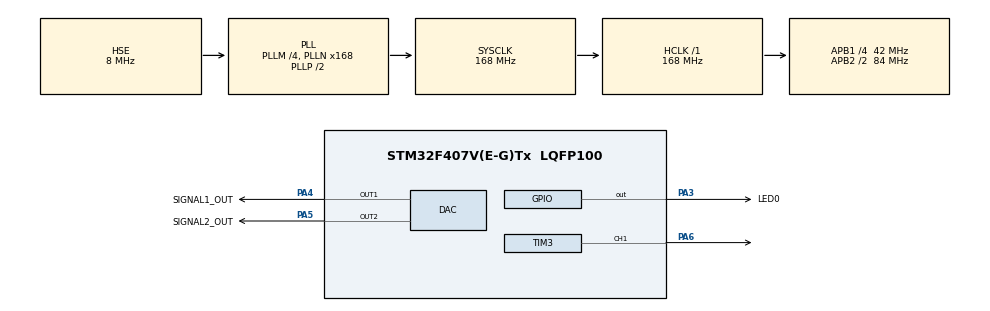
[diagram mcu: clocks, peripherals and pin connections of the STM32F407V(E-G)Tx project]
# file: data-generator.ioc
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Mcu.Family=STM32F4
Mcu.Name=STM32F407V(E-G)Tx
Mcu.Package=LQFP100
NVIC.PriorityGroup=NVIC_PRIORITYGROUP_4
NVIC.TIM3_IRQn=true\:0\:0\:false\:false\:true\:true\:true\:true
NVIC.TIM6_DAC_IRQn=true\:0\:0\:false\:false\:true\:true\:true\:true
NVIC.TIM7_IRQn=true\:0\:0\:false\:false\:true\:true\:true\:true
PA13.Mode=Serial_Wire
PA13.Signal=SYS_JTMS-SWDIO
PA14.Mode=Serial_Wire
PA14.Signal=SYS_JTCK-SWCLK
PA3.GPIO_Label=LED0
PA3.Signal=GPIO_Output
PA4.GPIO_Label=SIGNAL1_OUT
PA4.Signal=COMP_DAC1_group
PA5.GPIO_Label=SIGNAL2_OUT
PA5.Signal=COMP_DAC2_group
PA6.Signal=S_TIM3_CH1
PH0-OSC_IN.Mode=HSE-External-Oscillator
PH0-OSC_IN.Signal=RCC_OSC_IN
PH1-OSC_OUT.Mode=HSE-External-Oscillator
PH1-OSC_OUT.Signal=RCC_OSC_OUT
ProjectManager.HeapSize=0x200
ProjectManager.StackSize=0x400
ProjectManager.TargetToolchain=STM32CubeIDE
RCC.48MHZClocksFreq_Value=48000000
RCC.AHBFreq_Value=168000000
RCC.APB1CLKDivider=RCC_HCLK_DIV4
RCC.APB1Freq_Value=42000000
RCC.APB1TimFreq_Value=84000000
RCC.APB2CLKDivider=RCC_HCLK_DIV2
RCC.APB2Freq_Value=84000000
RCC.APB2TimFreq_Value=168000000
RCC.CortexFreq_Value=168000000
RCC.HCLKFreq_Value=168000000
RCC.HSE_VALUE=8000000
RCC.HSI_VALUE=16000000
RCC.LSE_VALUE=32768
RCC.PLLM=4
RCC.PLLN=168
RCC.PLLQ=7
RCC.PLLSourceVirtual=RCC_PLLSOURCE_HSE
RCC.SYSCLKFreq_VALUE=168000000
RCC.SYSCLKSource=RCC_SYSCLKSOURCE_PLLCLK
RCC.VCOOutputFreq_Value=336000000
SH.COMP_DAC1_group.0=DAC_OUT1,DAC_OUT1
SH.COMP_DAC2_group.0=DAC_OUT2,DAC_OUT2
SH.S_TIM3_CH1.0=TIM3_CH1,PWM Generation1 CH1
TIM3.Channel-PWM\ Generation1\ CH1=TIM_CHANNEL_1
TIM3.Period=84-1
TIM3.Prescaler=10-1
TIM3.Pulse-PWM\ Generation1\ CH1=42
TIM7.Period=50000-1
TIM7.Prescaler=840-1
VP_RNG_VS_RNG.Mode=RNG_Activate
VP_TIM7_VS_ClockSourceINT.Mode=Enable_Timer
board=custom

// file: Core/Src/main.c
/* USER CODE BEGIN Header */
/**
  ******************************************************************************
  * @file           : main.c
  * @brief          : Main program body
  ******************************************************************************
  * @attention
  *
  * Copyright (c) 2025 STMicroelectronics.
  * All rights reserved.
  *
  * This software is licensed under terms that can be found in the LICENSE file
  * in the root directory of this software component.
  * If no LICENSE file comes with this software, it is provided AS-IS.
  *
  ******************************************************************************
  */
/* USER CODE END Header */
#include "main.h"
#include "dac.h"
#include "rng.h"
#include "tim.h"
#include "gpio.h"

/* USER CODE BEGIN Includes */
#include <math.h>
/* USER CODE END Includes */

/* USER CODE BEGIN PM */
#define SIGNAL_FREQUENCY 1e3
#define SAMPLING_FREQUENCY 100e3
#define NOISE_FREQUENCY 10e3
#define SIGNAL_AMPLITUDE 1.5f
#define PHASE_A 0.0f
#define PHASE_B M_PI_2
#define NOISE_AMPLITUDE 0.2f
#define DAC_OFFSET 1.5f
/* USER CODE END PM */

/* USER CODE BEGIN PV */
#define NUM_SAMPLES (int)(SAMPLING_FREQUENCY / SIGNAL_FREQUENCY) // 100 samples

volatile uint32_t sample_index = 0;
uint32_t lut_channel_1[NUM_SAMPLES];
uint32_t lut_channel_2[NUM_SAMPLES];
/* USER CODE END PV */

void SystemClock_Config(void);
/* USER CODE BEGIN PFP */
static inline float compute_sine(float tau, float f, float phi) {
	return sinf(tau * f + phi);
}

static inline float get_noise(float amplitude) {
	uint32_t raw_value;

	HAL_RNG_GenerateRandomNumber(&hrng, &raw_value);

	return fabsf((float)raw_value / (float)(UINT32_MAX)) * amplitude;
}

static inline uint32_t digitize(float signal) {
	uint32_t value = signal * 4096.0f / 3.0f;

	if (value >= 4096) {
		return 4095;
	} else {
		return value;
	}
}

void HAL_TIM_PeriodElapsedCallback(TIM_HandleTypeDef *htim) {

    if (htim->Instance == TIM3) {

        // Directly push pre-calculated values to the DAC
        HAL_DAC_SetValue(&hdac, DAC_CHANNEL_1, DAC_ALIGN_12B_R, lut_channel_1[sample_index]);
        HAL_DAC_SetValue(&hdac, DAC_CHANNEL_2, DAC_ALIGN_12B_R, lut_channel_2[sample_index]);

        sample_index++;
        if (sample_index >= NUM_SAMPLES) {
            sample_index = 0;
        }
    }
    else if (htim->Instance == TIM7) {
        HAL_GPIO_TogglePin(LED0_GPIO_Port, LED0_Pin);
    }
}
/* USER CODE END PFP */

int main(void)
{

  /* MCU Configuration--------------------------------------------------------*/

  /* Reset of all peripherals, Initializes the Flash interface and the Systick. */
  HAL_Init();

  /* Configure the system clock */
  SystemClock_Config();

  /* Initialize all configured peripherals */
  MX_GPIO_Init();
  MX_DAC_Init();
  MX_TIM7_Init();
  MX_TIM3_Init();
  MX_RNG_Init();
  /* USER CODE BEGIN 2 */
  // Pre-calculate the entire wave exactly once
	for (int i = 0; i < NUM_SAMPLES; i++) {
		float tau = 2.0f * (float)M_PI * (float)i / (float)NUM_SAMPLES;

		float noise_val = NOISE_AMPLITUDE * compute_sine(tau, NOISE_FREQUENCY/SIGNAL_FREQUENCY, 0);

		float signal_A = SIGNAL_AMPLITUDE * compute_sine(tau, 2.0f, PHASE_A) + DAC_OFFSET; // + noise_val;
		float signal_B = SIGNAL_AMPLITUDE * compute_sine(tau, 1.0f, PHASE_B) + DAC_OFFSET + noise_val;

		lut_channel_1[i] = digitize(signal_A);
		lut_channel_2[i] = digitize(signal_B);
	}

  HAL_DAC_Start(&hdac, DAC_CHANNEL_1);
  HAL_DAC_Start(&hdac, DAC_CHANNEL_2);
  HAL_TIM_PWM_Start(&htim3, TIM_CHANNEL_1);
  HAL_TIM_Base_Start_IT(&htim3);
  HAL_TIM_Base_Start_IT(&htim7);
  /* USER CODE END 2 */

  /* Infinite loop */
  /* USER CODE BEGIN WHILE */
  while (1)
  {
//	noise = get_noise(NOISE_AMPLITUDE);
    /* USER CODE END WHILE */

  }
}

void SystemClock_Config(void)
{
  RCC_OscInitTypeDef RCC_OscInitStruct = {0};
  RCC_ClkInitTypeDef RCC_ClkInitStruct = {0};

  /** Configure the main internal regulator output voltage
  */
  __HAL_RCC_PWR_CLK_ENABLE();
  __HAL_PWR_VOLTAGESCALING_CONFIG(PWR_REGULATOR_VOLTAGE_SCALE1);

  /** Initializes the RCC Oscillators according to the specified parameters
  * in the RCC_OscInitTypeDef structure.
  */
  RCC_OscInitStruct.OscillatorType = RCC_OSCILLATORTYPE_HSE;
  RCC_OscInitStruct.HSEState = RCC_HSE_ON;
  RCC_OscInitStruct.PLL.PLLState = RCC_PLL_ON;
  RCC_OscInitStruct.PLL.PLLSource = RCC_PLLSOURCE_HSE;
  RCC_OscInitStruct.PLL.PLLM = 4;
  RCC_OscInitStruct.PLL.PLLN = 168;
  RCC_OscInitStruct.PLL.PLLP = RCC_PLLP_DIV2;
  RCC_OscInitStruct.PLL.PLLQ = 7;
  if (HAL_RCC_OscConfig(&RCC_OscInitStruct) != HAL_OK)
  {
    Error_Handler();
  }

  /** Initializes the CPU, AHB and APB buses clocks
  */
  RCC_ClkInitStruct.ClockType = RCC_CLOCKTYPE_HCLK|RCC_CLOCKTYPE_SYSCLK
                              |RCC_CLOCKTYPE_PCLK1|RCC_CLOCKTYPE_PCLK2;
  RCC_ClkInitStruct.SYSCLKSource = RCC_SYSCLKSOURCE_PLLCLK;
  RCC_ClkInitStruct.AHBCLKDivider = RCC_SYSCLK_DIV1;
  RCC_ClkInitStruct.APB1CLKDivider = RCC_HCLK_DIV4;
  RCC_ClkInitStruct.APB2CLKDivider = RCC_HCLK_DIV2;

  if (HAL_RCC_ClockConfig(&RCC_ClkInitStruct, FLASH_LATENCY_5) != HAL_OK)
  {
    Error_Handler();
  }
}

void Error_Handler(void)
{
  __disable_irq();
  while (1)
  {
  }
}
